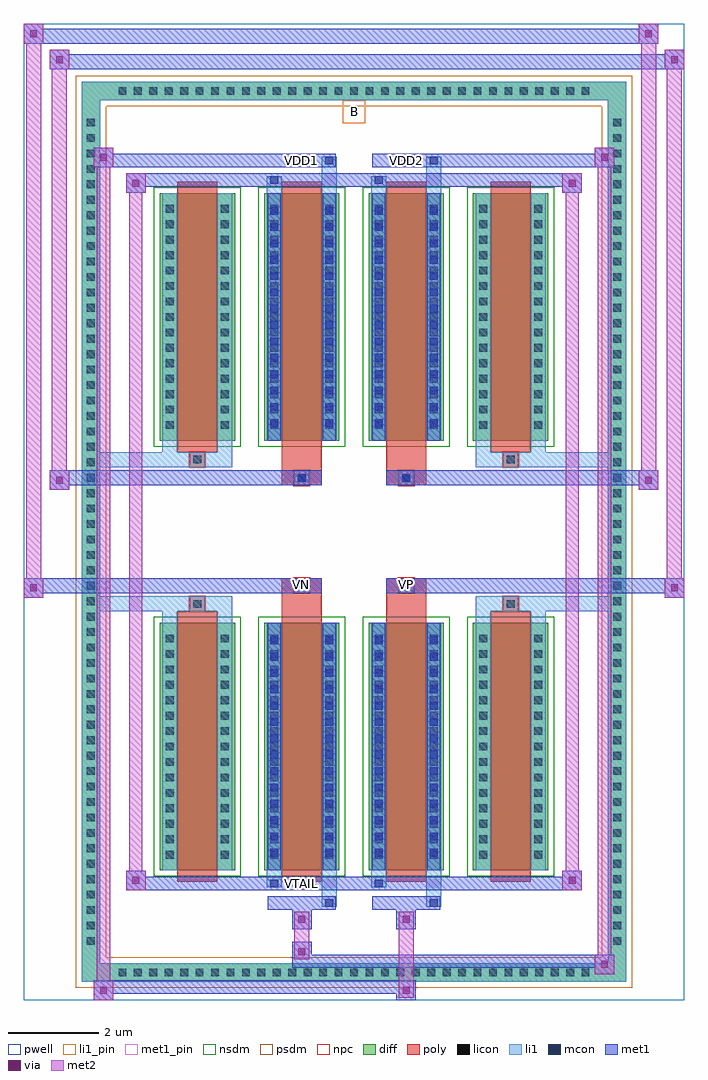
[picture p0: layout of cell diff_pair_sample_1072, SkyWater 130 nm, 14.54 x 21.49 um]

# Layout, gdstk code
import gdstk
lib = gdstk.Library(unit=1e-6, precision=5e-09)
def R(c, l, rs):  # rectangles x0, y0, x1, y1
    for r in rs: c.add(gdstk.rectangle(r[:2], r[2:], *l))
def A(c, l, x, y, w, h, nx, ny, dx, dy):  # array of equal rectangles
    R(c, l, [(x+i*dx, y+j*dy, x+i*dx+w, y+j*dy+h) for i in range(nx) for j in range(ny)])
def P(c, l, *ps):  # polygons
    for p in ps: c.add(gdstk.Polygon(p, *l))
pwell = (64, 44)
diff = (65, 20)
poly = (66, 20)
licon = (66, 44)
li1_pin = (67, 16)
li1 = (67, 20)
mcon = (67, 44)
met1_pin = (68, 16)
met1 = (68, 20)
via = (68, 44)
met2 = (69, 20)
nsdm = (93, 44)
psdm = (94, 20)
npc = (95, 20)

diff_pair_sample_1072 = lib.new_cell('diff_pair_sample_1072')
R(diff_pair_sample_1072, pwell, [(-7.27,-10.31,7.27,11.18), (-4.59,-8.5,-0.01,-0.82), (0.01,-8.5,4.59,-0.82), (-4.59,0.82,-0.01,8.5), (0.01,0.82,4.59,8.5)])
A(diff_pair_sample_1072, diff, -5.305, -9.91, 0.41, 0.41, 31, 2, 0.34, 19.41)
A(diff_pair_sample_1072, diff, -6, -9.215, 0.41, 0.41, 1, 54, 0, 0.34)
A(diff_pair_sample_1072, diff, 5.59, -9.215, 0.41, 0.41, 1, 54, 0, 0.34)
A(diff_pair_sample_1072, diff, -4.28, -7.455, 1.66, 5.45, 4, 2, 2.3, 9.46)
R(diff_pair_sample_1072, diff, [(-5.305,-9.91,5.305,-9.5), (-6,-9.215,-5.59,9.215), (5.59,-9.215,6,9.215), (-5.305,9.5,5.305,9.91)])
P(diff_pair_sample_1072, diff, [(6,9.91),(-6,9.91),(-6,-9.5),(-5.59,-9.5),(-5.59,9.5),(5.59,9.5),(5.59,-9.5),(-5.59,-9.5),(-6,-9.5),(-6,-9.91),(6,-9.91)])
A(diff_pair_sample_1072, poly, -3.89, -7.705, 0.88, 5.95, 4, 2, 2.3, 9.46)
R(diff_pair_sample_1072, poly, [(-3.615,-1.755,-3.285,-1.425), (-3.615,-1.755,-3.285,-1.425), (-1.59,-1.755,-0.71,-1.35), (0.71,-1.755,1.59,-1.35), (3.285,-1.755,3.615,-1.425), (3.285,-1.755,3.615,-1.425), (-1.59,-1.35,-0.71,-1.02), (-1.315,-1.35,-0.985,-1.02), (0.71,-1.35,1.59,-1.02), (0.985,-1.35,1.315,-1.02), (-1.59,1.02,-0.71,1.35), (-1.315,1.02,-0.985,1.35), (0.71,1.02,1.59,1.35), (0.985,1.02,1.315,1.35), (-1.59,1.35,-0.71,1.755), (0.71,1.35,1.59,1.755), (-3.615,1.425,-3.285,1.755), (-3.615,1.425,-3.285,1.755), (3.285,1.425,3.615,1.755), (3.285,1.425,3.615,1.755)])
A(diff_pair_sample_1072, licon, -5.185, -9.79, 0.17, 0.17, 31, 2, 0.34, 19.41)
A(diff_pair_sample_1072, licon, -5.88, -9.095, 0.17, 0.17, 1, 54, 0, 0.34)
A(diff_pair_sample_1072, licon, 5.71, -9.095, 0.17, 0.17, 1, 54, 0, 0.34)
A(diff_pair_sample_1072, licon, -4.14, -7.195, 0.17, 0.17, 1, 15, 0, 0.34)
A(diff_pair_sample_1072, licon, -2.93, -7.195, 0.17, 0.17, 1, 15, 0, 0.34)
A(diff_pair_sample_1072, licon, -1.84, -7.195, 0.17, 0.17, 1, 15, 0, 0.34)
A(diff_pair_sample_1072, licon, -0.63, -7.195, 0.17, 0.17, 1, 15, 0, 0.34)
A(diff_pair_sample_1072, licon, 0.46, -7.195, 0.17, 0.17, 1, 15, 0, 0.34)
A(diff_pair_sample_1072, licon, 1.67, -7.195, 0.17, 0.17, 1, 15, 0, 0.34)
A(diff_pair_sample_1072, licon, 2.76, -7.195, 0.17, 0.17, 1, 15, 0, 0.34)
A(diff_pair_sample_1072, licon, 3.97, -7.195, 0.17, 0.17, 1, 15, 0, 0.34)
A(diff_pair_sample_1072, licon, -4.14, 2.265, 0.17, 0.17, 1, 15, 0, 0.34)
A(diff_pair_sample_1072, licon, -2.93, 2.265, 0.17, 0.17, 1, 15, 0, 0.34)
A(diff_pair_sample_1072, licon, -1.84, 2.265, 0.17, 0.17, 1, 15, 0, 0.34)
A(diff_pair_sample_1072, licon, -0.63, 2.265, 0.17, 0.17, 1, 15, 0, 0.34)
A(diff_pair_sample_1072, licon, 0.46, 2.265, 0.17, 0.17, 1, 15, 0, 0.34)
A(diff_pair_sample_1072, licon, 1.67, 2.265, 0.17, 0.17, 1, 15, 0, 0.34)
A(diff_pair_sample_1072, licon, 2.76, 2.265, 0.17, 0.17, 1, 15, 0, 0.34)
A(diff_pair_sample_1072, licon, 3.97, 2.265, 0.17, 0.17, 1, 15, 0, 0.34)
R(diff_pair_sample_1072, licon, [(-3.535,-1.675,-3.365,-1.505), (3.365,-1.675,3.535,-1.505), (-1.235,-1.27,-1.065,-1.1), (1.065,-1.27,1.235,-1.1), (-1.235,1.1,-1.065,1.27), (1.065,1.1,1.235,1.27), (-3.535,1.505,-3.365,1.675), (3.365,1.505,3.535,1.675)])
R(diff_pair_sample_1072, li1_pin, [(-0.25,9,0.25,9.5)])
A(diff_pair_sample_1072, li1, -5.265, -9.87, 0.33, 0.33, 31, 2, 0.34, 19.41)
A(diff_pair_sample_1072, li1, -5.96, -9.175, 0.33, 0.33, 1, 54, 0, 0.34)
A(diff_pair_sample_1072, li1, 5.63, -9.175, 0.33, 0.33, 1, 54, 0, 0.34)
A(diff_pair_sample_1072, li1, -4.22, -7.275, 0.33, 0.33, 1, 15, 0, 0.34)
A(diff_pair_sample_1072, li1, -3.01, -7.275, 0.33, 0.33, 1, 15, 0, 0.34)
A(diff_pair_sample_1072, li1, -1.92, -7.275, 0.33, 0.33, 1, 15, 0, 0.34)
A(diff_pair_sample_1072, li1, -0.71, -7.275, 0.33, 0.33, 1, 15, 0, 0.34)
A(diff_pair_sample_1072, li1, 0.38, -7.275, 0.33, 0.33, 1, 15, 0, 0.34)
A(diff_pair_sample_1072, li1, 1.59, -7.275, 0.33, 0.33, 1, 15, 0, 0.34)
A(diff_pair_sample_1072, li1, 2.68, -7.275, 0.33, 0.33, 1, 15, 0, 0.34)
A(diff_pair_sample_1072, li1, 3.89, -7.275, 0.33, 0.33, 1, 15, 0, 0.34)
A(diff_pair_sample_1072, li1, -1.84, -7.155, 0.17, 0.17, 1, 14, 0, 0.36)
A(diff_pair_sample_1072, li1, -0.63, -7.155, 0.17, 0.17, 1, 14, 0, 0.36)
A(diff_pair_sample_1072, li1, 0.46, -7.155, 0.17, 0.17, 1, 14, 0, 0.36)
A(diff_pair_sample_1072, li1, 1.67, -7.155, 0.17, 0.17, 1, 14, 0, 0.36)
A(diff_pair_sample_1072, li1, -4.22, 2.185, 0.33, 0.33, 1, 15, 0, 0.34)
A(diff_pair_sample_1072, li1, -3.01, 2.185, 0.33, 0.33, 1, 15, 0, 0.34)
A(diff_pair_sample_1072, li1, -1.92, 2.185, 0.33, 0.33, 1, 15, 0, 0.34)
A(diff_pair_sample_1072, li1, -0.71, 2.185, 0.33, 0.33, 1, 15, 0, 0.34)
A(diff_pair_sample_1072, li1, 0.38, 2.185, 0.33, 0.33, 1, 15, 0, 0.34)
A(diff_pair_sample_1072, li1, 1.59, 2.185, 0.33, 0.33, 1, 15, 0, 0.34)
A(diff_pair_sample_1072, li1, 2.68, 2.185, 0.33, 0.33, 1, 15, 0, 0.34)
A(diff_pair_sample_1072, li1, 3.89, 2.185, 0.33, 0.33, 1, 15, 0, 0.34)
A(diff_pair_sample_1072, li1, -1.84, 2.305, 0.17, 0.17, 1, 14, 0, 0.36)
A(diff_pair_sample_1072, li1, -0.63, 2.305, 0.17, 0.17, 1, 14, 0, 0.36)
A(diff_pair_sample_1072, li1, 0.46, 2.305, 0.17, 0.17, 1, 14, 0, 0.36)
A(diff_pair_sample_1072, li1, 1.67, 2.305, 0.17, 0.17, 1, 14, 0, 0.36)
R(diff_pair_sample_1072, li1, [(-6,-9.91,-5.59,-9.5), (-6,-9.91,-5.59,-9.5), (-5.59,-9.91,5.59,-9.5), (5.59,-9.91,6,-9.5), (5.59,-9.91,6,-9.5), (-6,-9.5,-5.59,9.5), (5.59,-9.5,6,9.5), (-0.71,-8.26,-0.38,-7.455), (-0.63,-8.26,-0.46,-8.09), (1.59,-8.26,1.92,-7.455), (1.67,-8.26,1.84,-8.09), (-1.92,-7.83,-1.59,-7.455), (-1.84,-7.83,-1.67,-7.66), (0.38,-7.83,0.71,-7.455), (0.46,-7.83,0.63,-7.66), (-4.22,-7.455,-3.89,-2.005), (-3.01,-7.455,-2.68,-2.005), (-1.92,-7.455,-1.59,-2.005), (-0.71,-7.455,-0.38,-2.005), (0.38,-7.455,0.71,-2.005), (1.59,-7.455,1.92,-2.005), (2.68,-7.455,3.01,-2.005), (3.89,-7.455,4.22,-2.005), (-1.84,-7.155,-1.67,-2.305), (-0.63,-7.155,-0.46,-2.305), (0.46,-7.155,0.63,-2.305), (1.67,-7.155,1.84,-2.305), (-4.22,-2.005,-3.89,-1.425), (-3.01,-2.005,-2.68,-1.425), (2.68,-2.005,3.01,-1.425), (3.89,-2.005,4.22,-1.425), (-6,-1.755,-3.615,-1.425), (-4.22,-1.755,-3.615,-1.425), (-3.615,-1.755,-3.285,-1.425), (-3.285,-1.755,-2.68,-1.425), (2.68,-1.755,3.285,-1.425), (3.285,-1.755,3.615,-1.425), (3.285,-1.755,6,-1.425), (3.615,-1.755,4.22,-1.425), (-1.315,-1.35,-0.985,-1.02), (0.985,-1.35,1.315,-1.02), (-1.315,1.02,-0.985,1.35), (0.985,1.02,1.315,1.35), (-6,1.425,-3.615,1.755), (-4.22,1.425,-3.615,1.755), (-4.22,1.425,-3.89,2.005), (-3.615,1.425,-3.285,1.755), (-3.285,1.425,-2.68,1.755), (-3.01,1.425,-2.68,2.005), (2.68,1.425,3.285,1.755), (2.68,1.425,3.01,2.005), (3.285,1.425,3.615,1.755), (3.285,1.425,6,1.755), (3.615,1.425,4.22,1.755), (3.89,1.425,4.22,2.005), (-4.22,2.005,-3.89,7.455), (-3.01,2.005,-2.68,7.455), (-1.92,2.005,-1.59,7.455), (-0.71,2.005,-0.38,7.455), (0.38,2.005,0.71,7.455), (1.59,2.005,1.92,7.455), (2.68,2.005,3.01,7.455), (3.89,2.005,4.22,7.455), (-1.84,2.305,-1.67,7.155), (-0.63,2.305,-0.46,7.155), (0.46,2.305,0.63,7.155), (1.67,2.305,1.84,7.155), (-1.92,7.455,-1.59,7.83), (-0.71,7.455,-0.38,8.26), (0.38,7.455,0.71,7.83), (1.59,7.455,1.92,8.26), (-1.84,7.66,-1.67,7.83), (0.46,7.66,0.63,7.83), (-0.63,8.09,-0.46,8.26), (1.67,8.09,1.84,8.26), (-6,9.5,-5.59,9.91), (-6,9.5,-5.59,9.91), (-5.59,9.5,5.59,9.91), (5.59,9.5,6,9.91), (5.59,9.5,6,9.91)])
A(diff_pair_sample_1072, mcon, -1.84, -7.155, 0.17, 0.17, 1, 14, 0, 0.36)
A(diff_pair_sample_1072, mcon, -0.63, -7.155, 0.17, 0.17, 1, 14, 0, 0.36)
A(diff_pair_sample_1072, mcon, 0.46, -7.155, 0.17, 0.17, 1, 14, 0, 0.36)
A(diff_pair_sample_1072, mcon, 1.67, -7.155, 0.17, 0.17, 1, 14, 0, 0.36)
A(diff_pair_sample_1072, mcon, -1.84, 2.305, 0.17, 0.17, 1, 14, 0, 0.36)
A(diff_pair_sample_1072, mcon, -0.63, 2.305, 0.17, 0.17, 1, 14, 0, 0.36)
A(diff_pair_sample_1072, mcon, 0.46, 2.305, 0.17, 0.17, 1, 14, 0, 0.36)
A(diff_pair_sample_1072, mcon, 1.67, 2.305, 0.17, 0.17, 1, 14, 0, 0.36)
R(diff_pair_sample_1072, mcon, [(-0.63,-8.26,-0.46,-8.09), (1.67,-8.26,1.84,-8.09), (-1.84,-7.83,-1.67,-7.66), (0.46,-7.83,0.63,-7.66), (-1.235,-1.27,-1.065,-1.1), (1.065,-1.27,1.235,-1.1), (-1.235,1.1,-1.065,1.27), (1.065,1.1,1.235,1.27), (-1.84,7.66,-1.67,7.83), (0.46,7.66,0.63,7.83), (-0.63,8.09,-0.46,8.26), (1.67,8.09,1.84,8.26)])
R(diff_pair_sample_1072, met1_pin, [(-1.285,-7.87,-1.015,-7.6), (-1.285,-1.29,-1.015,-1.02), (1.015,-1.29,1.285,-1.02), (-1.285,8.05,-1.015,8.32), (1.015,8.05,1.285,8.32)])
A(diff_pair_sample_1072, met1, -1.9, -7.215, 0.29, 0.29, 1, 14, 0, 0.36)
A(diff_pair_sample_1072, met1, -0.69, -7.215, 0.29, 0.29, 1, 14, 0, 0.36)
A(diff_pair_sample_1072, met1, 0.4, -7.215, 0.29, 0.29, 1, 14, 0, 0.36)
A(diff_pair_sample_1072, met1, 1.61, -7.215, 0.29, 0.29, 1, 14, 0, 0.36)
A(diff_pair_sample_1072, met1, -1.9, 2.245, 0.29, 0.29, 1, 14, 0, 0.36)
A(diff_pair_sample_1072, met1, -0.69, 2.245, 0.29, 0.29, 1, 14, 0, 0.36)
A(diff_pair_sample_1072, met1, 0.4, 2.245, 0.29, 0.29, 1, 14, 0, 0.36)
A(diff_pair_sample_1072, met1, 1.61, 2.245, 0.29, 0.29, 1, 14, 0, 0.36)
R(diff_pair_sample_1072, met1, [(-5.73,-10.31,-5.3,-9.88), (0.935,-10.31,1.365,-9.88), (-5.73,-10.17,1.365,-9.88), (5.3,-9.74,5.73,-9.31), (-1.365,-9.6,5.73,-9.31), (-1.365,-9.46,-0.935,-9.03), (-1.365,-8.75,-0.935,-8.32), (0.935,-8.75,1.365,-8.32), (-1.9,-8.32,-0.4,-8.03), (-0.69,-8.32,-0.4,-8.03), (0.4,-8.32,1.9,-8.03), (1.61,-8.32,1.9,-8.03), (-5.02,-7.89,-4.59,-7.46), (-5.02,-7.89,-1.9,-7.6), (-1.9,-7.89,-1.61,-7.6), (-1.9,-7.89,-0.4,-7.6), (-0.4,-7.89,0.4,-7.6), (0.4,-7.89,0.69,-7.6), (0.4,-7.89,1.9,-7.6), (1.9,-7.89,5.02,-7.6), (4.59,-7.89,5.02,-7.46), (-1.9,-7.455,-1.61,-2.005), (-0.69,-7.455,-0.4,-2.005), (0.4,-7.455,0.69,-2.005), (1.61,-7.455,1.9,-2.005), (-7.27,-1.45,-6.84,-1.02), (6.84,-1.45,7.27,-1.02), (-7.27,-1.35,-0.71,-1.02), (-1.59,-1.35,-0.71,-1.02), (0.71,-1.35,1.59,-1.02), (0.71,-1.35,7.27,-1.02), (-1.295,-1.33,-1.005,-1.04), (1.005,-1.33,1.295,-1.04), (-6.7,0.92,-6.27,1.35), (6.27,0.92,6.7,1.35), (-6.7,1.02,-1.59,1.35), (-1.59,1.02,-0.71,1.35), (0.71,1.02,1.59,1.35), (1.59,1.02,6.7,1.35), (-1.295,1.04,-1.005,1.33), (1.005,1.04,1.295,1.33), (-1.9,2.005,-1.61,7.455), (-0.69,2.005,-0.4,7.455), (0.4,2.005,0.69,7.455), (1.61,2.005,1.9,7.455), (-5.02,7.46,-4.59,7.89), (4.59,7.46,5.02,7.89), (-5.02,7.6,-1.9,7.89), (-1.9,7.6,-1.61,7.89), (-1.9,7.6,-0.4,7.89), (-0.4,7.6,0.4,7.89), (0.4,7.6,0.69,7.89), (0.4,7.6,1.9,7.89), (1.9,7.6,5.02,7.89), (-5.73,8.03,-5.3,8.46), (-5.73,8.03,-1.9,8.32), (-1.9,8.03,-0.4,8.32), (-0.69,8.03,-0.4,8.32), (0.4,8.03,1.9,8.32), (1.61,8.03,1.9,8.32), (1.9,8.03,5.73,8.32), (5.3,8.03,5.73,8.46), (-6.7,10.18,-6.27,10.61), (-6.7,10.18,-4.59,10.51), (-4.59,10.18,4.59,10.51), (4.59,10.18,7.27,10.51), (6.84,10.18,7.27,10.61), (-7.27,10.75,-6.84,11.18), (-7.27,10.75,-4.59,11.08), (-4.59,10.75,4.59,11.08), (4.59,10.75,6.7,11.08), (6.27,10.75,6.7,11.18)])
R(diff_pair_sample_1072, via, [(-5.59,-10.17,-5.44,-10.02), (1.075,-10.17,1.225,-10.02), (5.44,-9.6,5.59,-9.45), (-1.225,-9.32,-1.075,-9.17), (-1.225,-8.61,-1.075,-8.46), (1.075,-8.61,1.225,-8.46), (-4.88,-7.75,-4.73,-7.6), (4.73,-7.75,4.88,-7.6), (-7.13,-1.31,-6.98,-1.16), (6.98,-1.31,7.13,-1.16), (-6.56,1.06,-6.41,1.21), (6.41,1.06,6.56,1.21), (-4.88,7.6,-4.73,7.75), (4.73,7.6,4.88,7.75), (-5.59,8.17,-5.44,8.32), (5.44,8.17,5.59,8.32), (-6.56,10.32,-6.41,10.47), (6.98,10.32,7.13,10.47), (-7.13,10.89,-6.98,11.04), (6.41,10.89,6.56,11.04)])
R(diff_pair_sample_1072, met2, [(-5.73,-10.31,-5.3,-9.88), (-5.66,-10.31,-5.37,8.46), (-5.37,-10.31,-5.3,-9.88), (-5.68,-10.26,-5.35,-9.93), (0.985,-10.26,1.315,-9.93), (0.985,-9.93,1.315,-8.7), (5.3,-9.74,5.73,-9.31), (5.37,-9.74,5.66,8.46), (5.66,-9.74,5.73,-9.31), (5.35,-9.69,5.68,-9.36), (-1.315,-9.41,-0.985,-9.08), (-1.315,-9.08,-0.985,-8.7), (-1.315,-8.7,-0.985,-8.37), (0.985,-8.7,1.315,-8.37), (-5.02,-7.89,-4.59,-7.46), (-4.95,-7.89,-4.66,7.89), (-4.66,-7.89,-4.59,-7.46), (4.59,-7.89,5.02,-7.46), (4.66,-7.89,4.95,7.89), (4.95,-7.89,5.02,-7.46), (-4.97,-7.84,-4.64,-7.51), (4.64,-7.84,4.97,-7.51), (-7.27,-1.45,-6.84,-1.02), (-7.22,-1.45,-6.89,11.18), (-6.89,-1.45,-6.84,-1.02), (6.84,-1.45,7.27,-1.02), (6.89,-1.45,7.22,10.61), (7.22,-1.45,7.27,-1.02), (-7.22,-1.4,-6.89,-1.07), (6.89,-1.4,7.22,-1.07), (-6.7,0.92,-6.27,1.35), (-6.65,0.92,-6.32,10.61), (-6.32,0.92,-6.27,1.35), (6.27,0.92,6.7,1.35), (6.32,0.92,6.65,11.18), (6.65,0.92,6.7,1.35), (-6.65,0.97,-6.32,1.3), (6.32,0.97,6.65,1.3), (-5.02,7.46,-4.59,7.89), (-4.66,7.46,-4.59,7.89), (4.59,7.46,5.02,7.89), (4.95,7.46,5.02,7.89), (-4.97,7.51,-4.64,7.84), (4.64,7.51,4.97,7.84), (-5.73,8.03,-5.3,8.46), (-5.37,8.03,-5.3,8.46), (5.3,8.03,5.73,8.46), (5.66,8.03,5.73,8.46), (-5.68,8.08,-5.35,8.41), (5.35,8.08,5.68,8.41), (-6.7,10.18,-6.27,10.61), (-6.32,10.18,-6.27,10.61), (6.84,10.18,7.27,10.61), (7.22,10.18,7.27,10.61), (-6.65,10.23,-6.32,10.56), (6.89,10.23,7.22,10.56), (-7.27,10.75,-6.84,11.18), (-6.89,10.75,-6.84,11.18), (6.27,10.75,6.7,11.18), (6.65,10.75,6.7,11.18), (-7.22,10.8,-6.89,11.13), (6.32,10.8,6.65,11.13)])
A(diff_pair_sample_1072, nsdm, -4.41, -7.585, 1.92, 5.71, 4, 2, 2.3, 9.46)
P(diff_pair_sample_1072, psdm, [(6.13,10.04),(-6.13,10.04),(-6.13,-9.37),(-5.46,-9.37),(-5.46,9.37),(5.46,9.37),(5.46,-9.37),(-5.46,-9.37),(-6.13,-9.37),(-6.13,-10.04),(6.13,-10.04)])
R(diff_pair_sample_1072, npc, [(-3.635,-1.775,-3.265,-1.405), (3.265,-1.775,3.635,-1.405), (-1.335,-1.37,-0.965,-1), (0.965,-1.37,1.335,-1), (-1.335,1,-0.965,1.37), (0.965,1,1.335,1.37), (-3.635,1.405,-3.265,1.775), (3.265,1.405,3.635,1.775)])
diff_pair_sample_1072.add(gdstk.Label('VTAIL', (-1.15,-7.735), layer=68, texttype=5))
diff_pair_sample_1072.add(gdstk.Label('VN', (-1.15,-1.155), layer=68, texttype=5))
diff_pair_sample_1072.add(gdstk.Label('VP', (1.15,-1.155), layer=68, texttype=5))
diff_pair_sample_1072.add(gdstk.Label('B', (0,9.25), layer=67, texttype=5))
diff_pair_sample_1072.add(gdstk.Label('VDD2', (1.15,8.185), layer=68, texttype=5))
diff_pair_sample_1072.add(gdstk.Label('VDD1', (-1.15,8.185), layer=68, texttype=5))

lib.write_gds('diff_pair_sample_1072.gds')
